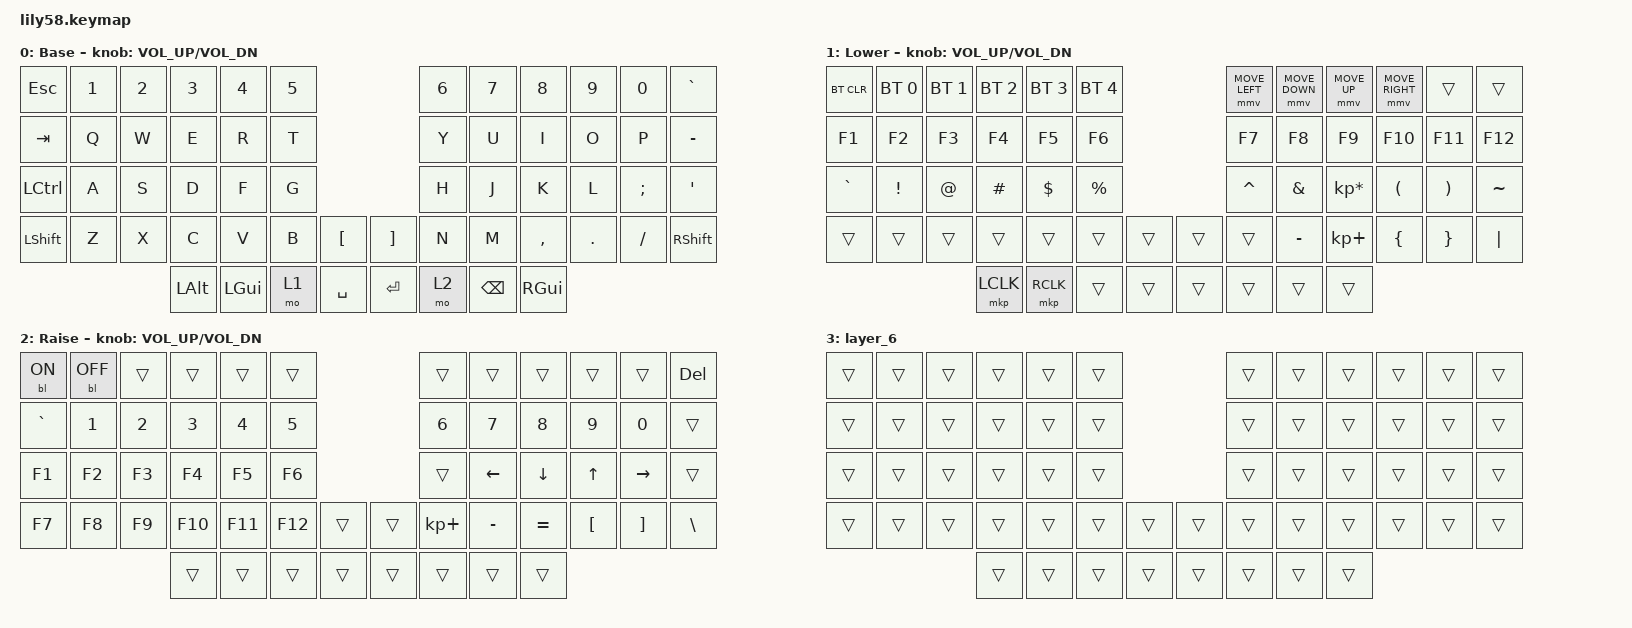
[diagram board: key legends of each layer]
/*
 * Copyright (c) 2020 The ZMK Contributors
 *
 * SPDX-License-Identifier: MIT
 */

#include <behaviors.dtsi>
#include <dt-bindings/zmk/backlight.h>
#include <dt-bindings/zmk/bt.h>
#include <dt-bindings/zmk/keys.h>
#include <dt-bindings/zmk/pointing.h>

/ {
    keymap {
        compatible = "zmk,keymap";

        default_layer {
            // ------------------------------------------------------------------------------------------------------------
            // |  ESC  |  1  |  2  |  3   |  4   |  5   |                   |  6   |  7    |  8    |  9   |   0   |   `   |
            // |  TAB  |  Q  |  W  |  E   |  R   |  T   |                   |  Y   |  U    |  I    |  O   |   P   |   -   |
            // |  CTRL |  A  |  S  |  D   |  F   |  G   |                   |  H   |  J    |  K    |  L   |   ;   |   '   |
            // | SHIFT |  Z  |  X  |  C   |  V   |  B   |   "["  |  |  "]"  |  N   |  M    |  ,    |  .   |   /   | SHIFT |
            //                     | ALT  | GUI  | LOWER|  SPACE |  | ENTER | RAISE| BSPC  | GUI   |

            display-name = "Base";
            bindings = <
&kp ESC    &kp N1  &kp N2  &kp N3    &kp N4    &kp N5                         &kp N6  &kp N7    &kp N8     &kp N9   &kp N0    &kp GRAVE
&kp TAB    &kp Q   &kp W   &kp E     &kp R     &kp T                          &kp Y   &kp U     &kp I      &kp O    &kp P     &kp MINUS
&kp LCTRL  &kp A   &kp S   &kp D     &kp F     &kp G                          &kp H   &kp J     &kp K      &kp L    &kp SEMI  &kp SQT
&kp LSHFT  &kp Z   &kp X   &kp C     &kp V     &kp B   &kp LBKT     &kp RBKT  &kp N   &kp M     &kp COMMA  &kp DOT  &kp FSLH  &kp RSHFT
                           &kp LALT  &kp LGUI  &mo 1   &kp SPACE    &kp RET   &mo 2   &kp BSPC  &kp RGUI
            >;

            sensor-bindings = <&inc_dec_kp C_VOL_UP C_VOL_DN>;
        };

        lower_layer {
            // ------------------------------------------------------------------------------------------------------------
            // | BTCLR | BT1 | BT2 |  BT3 |  BT4 |  BT5 |                   |      |       |       |      |       |       |
            // |  F1   |  F2 |  F3 |  F4  |  F5  |  F6  |                   |  F7  |  F8   |  F9   |  F10 |  F11  |  F12  |
            // |   `   |  !  |  @  |  #   |  $   |  %   |                   |  ^   |  &    |  *    |  (   |   )   |   ~   |
            // |       |     |     |      |      |      |        |  |       |      |  _    |  +    |  {   |   }   |  "|"  |
            //                     |      |      |      |        |  |       |      |       |       |

            display-name = "Lower";
            bindings = <
&bt BT_CLR  &bt BT_SEL 0  &bt BT_SEL 1  &bt BT_SEL 2  &bt BT_SEL 3  &bt BT_SEL 4                    &mmv MOVE_LEFT  &mmv MOVE_DOWN  &mmv MOVE_UP     &mmv MOVE_RIGHT  &trans    &trans
&kp F1      &kp F2        &kp F3        &kp F4        &kp F5        &kp F6                          &kp F7          &kp F8          &kp F9           &kp F10          &kp F11   &kp F12
&kp GRAVE   &kp EXCL      &kp AT        &kp HASH      &kp DOLLAR    &kp PRCNT                       &kp CARET       &kp AMPS        &kp KP_MULTIPLY  &kp LPAR         &kp RPAR  &kp TILDE
&trans      &trans        &trans        &trans        &trans        &trans        &trans    &trans  &trans          &kp MINUS       &kp KP_PLUS      &kp LBRC         &kp RBRC  &kp PIPE
                                        &mkp LCLK     &mkp RCLK     &trans        &trans    &trans  &trans          &trans          &trans
            >;

            sensor-bindings = <&inc_dec_kp C_VOL_UP C_VOL_DN>;
        };

        raise_layer {
            // ------------------------------------------------------------------------------------------------------------
            // |       |     |     |      |      |      |                   |      |       |       |      |       |       |
            // |   `   |  1  |  2  |  3   |  4   |  5   |                   |  6   |   7   |   8   |  9   |   0   |       |
            // |   F1  |  F2 |  F3 |  F4  |  F5  |  F6  |                   |      |   <-  |   v   |  ^   |  ->   |       |
            // |   F7  |  F8 |  F9 |  F10 |  F11 |  F12 |        |  |       |  +   |   -   |   =   |  [   |   ]   |   \   |
            //                     |      |      |      |        |  |       |      |       |       |

            display-name = "Raise";
            bindings = <
&bl BL_ON  &bl BL_OFF    &trans        &trans        &trans        &trans                     &trans        &trans        &trans        &trans        &trans        &kp DELETE
&kp GRAVE  &kp NUMBER_1  &kp NUMBER_2  &kp NUMBER_3  &kp NUMBER_4  &kp N5                     &kp NUMBER_6  &kp NUMBER_7  &kp NUMBER_8  &kp NUMBER_9  &kp NUMBER_0  &trans
&kp F1     &kp F2        &kp F3        &kp F4        &kp F5        &kp F6                     &trans        &kp LEFT      &kp DOWN      &kp UP        &kp RIGHT     &trans
&kp F7     &kp F8        &kp F9        &kp F10       &kp F11       &kp F12  &trans    &trans  &kp KP_PLUS   &kp MINUS     &kp EQUAL     &kp LBKT      &kp RBKT      &kp BSLH
                                       &trans        &trans        &trans   &trans    &trans  &trans        &trans        &trans
            >;

            sensor-bindings = <&inc_dec_kp C_VOL_UP C_VOL_DN>;
        };

        extra_1 { status = "reserved"; };

        extra_2 { status = "reserved"; };

        extra_3 { status = "reserved"; };

        layer_6 {
            bindings = <
&trans  &trans  &trans  &trans  &trans  &trans                    &trans  &trans  &trans  &trans  &trans  &trans
&trans  &trans  &trans  &trans  &trans  &trans                    &trans  &trans  &trans  &trans  &trans  &trans
&trans  &trans  &trans  &trans  &trans  &trans                    &trans  &trans  &trans  &trans  &trans  &trans
&trans  &trans  &trans  &trans  &trans  &trans  &trans    &trans  &trans  &trans  &trans  &trans  &trans  &trans
                        &trans  &trans  &trans  &trans    &trans  &trans  &trans  &trans
            >;
        };
    };
};
